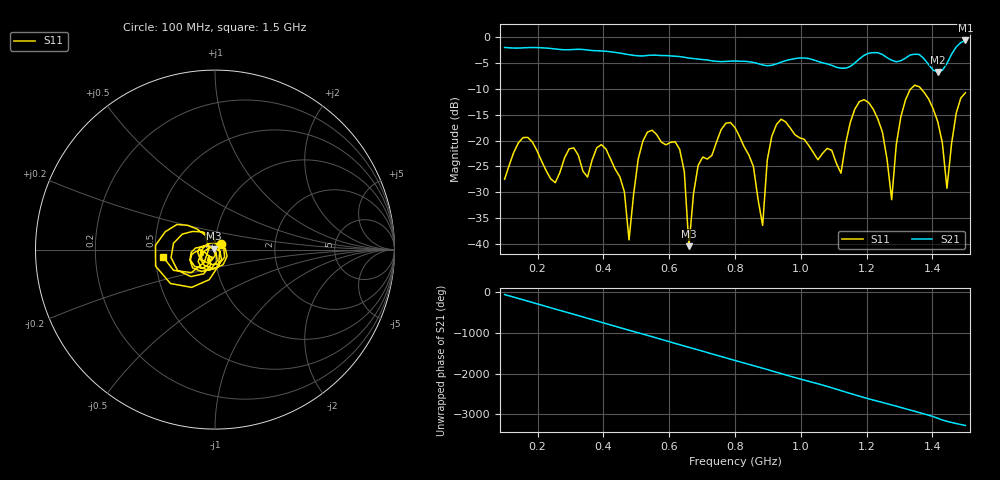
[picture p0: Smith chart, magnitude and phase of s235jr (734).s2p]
! NanoVNA-App
! Date: 2025-09-25 15:09:53
! Start: 100MHz Stop: 1,5GHz Points: 101
! S-Parameter data: F S11 S21 S12 S22
# Hz S RI R 50
!  Frequency  S11_Real  S11_Imag  S21_Real  S21_Imag  S12_Real  S12_Imag  S22_Real  S22_Imag
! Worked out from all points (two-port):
!   101 points, 100 MHz to 1.5 GHz, reference 50 ohm
!   highest |S21| = -0.61 dB at 1.5 GHz (marker M1); lowest = -6.7 dB at 1.416 GHz (marker M2)
!   |S21| within 3 dB of the highest: start of sweep to 519.1 MHz; 520.3 MHz to 604.1 MHz (83.83 MHz wide, 14.9 % of centre) (the widest 2 of 5)
!   lowest |S11| = -40.4 dB at 660 MHz (marker M3), VSWR 1.02, Z = 49.2 + j0.524 ohm
!   |S11| at or under -10 dB: start of sweep to 1.334 GHz; 1.366 GHz to end of sweep
!   S12 and S22 are empty: the file has one direction only
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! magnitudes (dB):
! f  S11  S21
! 100 MHz  -27.5  -2.0
! 156 MHz  -19.4  -2.0
! 338 MHz  -25.9  -2.4
! 408 MHz  -21.6  -2.7
! 478 MHz  -39.2  -3.4
! 520 MHz  -20.1  -3.6
! 576 MHz  -20.3  -3.5
! 632 MHz  -21.7  -3.7
! 660 MHz  -40.4  -4.0
! 688 MHz  -24.8  -4.2
! 800 MHz  -17.5  -4.6
! 884 MHz  -36.4  -5.4
! 898 MHz  -23.8  -5.5
! 926 MHz  -16.9  -5.1
! 1.038 GHz  -22.3  -4.4
! 1.122 GHz  -26.3  -6.0
! 1.206 GHz  -12.6  -3.1
! 1.276 GHz  -31.4  -4.5
! 1.332 GHz  -10.1  -3.4
! 1.416 GHz  -16.3  -6.7
! 1.444 GHz  -29.2  -5.1
! 1.5 GHz  -10.7  -0.6
